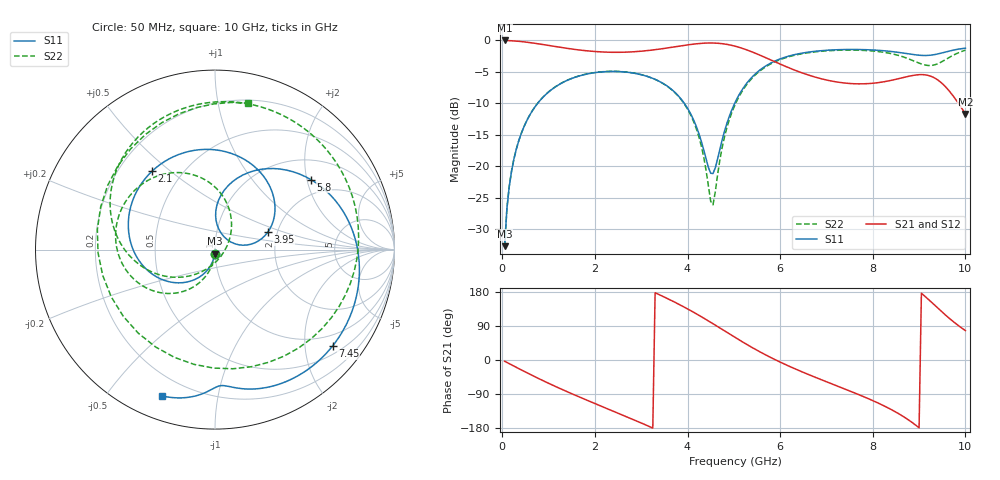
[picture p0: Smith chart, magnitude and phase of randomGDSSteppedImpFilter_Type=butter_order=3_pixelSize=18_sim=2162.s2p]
! freq	dB(S11)	phase(S11)	dB(S12)	phase(S12)
!  dB(S21)	phase(S21)	dB(S22)	phase(S22)
!S-par simulation data
#  GHz  S  DB  R 50
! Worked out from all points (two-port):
!   200 points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, 50 MHz to 10 GHz, reference 50 ohm
!   highest |S21| = -0.01 dB at 50 MHz (marker M1); lowest = -11.7 dB at 10 GHz (marker M2)
!   |S21| within 3 dB of the highest: start of sweep to 5.767 GHz
!   lowest |S11| = -32.7 dB at 50 MHz (marker M3), VSWR 1.05, Z = 49.8 - j2.3 ohm
!   |S11| at or under -10 dB: start of sweep to 764 MHz; 3.93 GHz to 5.019 GHz (1.089 GHz wide, 24.3 % of centre)
!   |S22| runs from -32.7 to -1.5 dB; largest |S21 - S12| = 0
!   S11 on the Smith chart (normalised r, x): 50 MHz: 1.00, -0.05; 2.1 GHz: 0.34, +0.43; 3.95 GHz: 1.78, +0.38; 5.8 GHz: 1.52, +2.11; 7.45 GHz: 0.69, -2.63; 10 GHz: 0.11, -0.70
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0.05  -32.71 -93.8  -0.01 -3.3  -0.01 -3.3  -32.69 -92.8
0.2  -20.78 -105.2  -0.06 -12.9  -0.06 -12.9  -20.77 -101.2
0.5  -13.20 -127.2  -0.26 -31.7  -0.26 -31.7  -13.18 -117.3
1.1  -7.62 -168.6  -0.92 -67.2  -0.92 -67.2  -7.60 -146.8
1.75  -5.47 150.1  -1.60 -102.1  -1.60 -102.1  -5.46 -175.2
2.1  -5.03 128.8  -1.81 -119.9  -1.81 -119.9  -5.02 170.5
2.75  -5.10 89.8  -1.84 -153.0  -1.84 -153.0  -5.09 143.9
3.4  -6.54 50.5  -1.38 171.9  -1.38 171.9  -6.55 114.2
3.95  -10.21 18.2  -0.76 138.2  -0.76 138.2  -10.32 82.4
4.25  -14.91 8.2  -0.49 117.7  -0.49 117.7  -15.45 56.8
4.55  -21.16 54.9  -0.41 95.7  -0.41 95.7  -26.12 -47.3
5.05  -9.51 81.2  -0.96 57.8  -0.96 57.8  -9.84 -153.0
5.8  -3.59 36.2  -3.11 6.4  -3.11 6.4  -3.71 153.5
6.7  -1.78 -9.4  -5.71 -42.8  -5.71 -42.8  -1.87 102.3
7.45  -1.44 -39.4  -6.82 -79.2  -6.82 -79.2  -1.53 60.6
8.35  -1.72 -69.4  -6.42 -127.6  -6.42 -127.6  -2.03 -4.0
8.65  -2.00 -77.8  -5.92 -148.4  -5.92 -148.4  -2.60 -36.3
8.95  -2.32 -84.4  -5.48 -174.1  -5.48 -174.1  -3.46 -81.4
9.15  -2.40 -87.5  -5.50 165.5  -5.50 165.5  -3.94 -121.4
9.4  -2.16 -91.5  -6.27 137.6  -6.27 137.6  -3.72 -178.5
9.7  -1.60 -99.2  -8.48 105.2  -8.48 105.2  -2.50 121.1
10  -1.24 -109.8  -11.68 77.6  -11.68 77.6  -1.55 77.3
